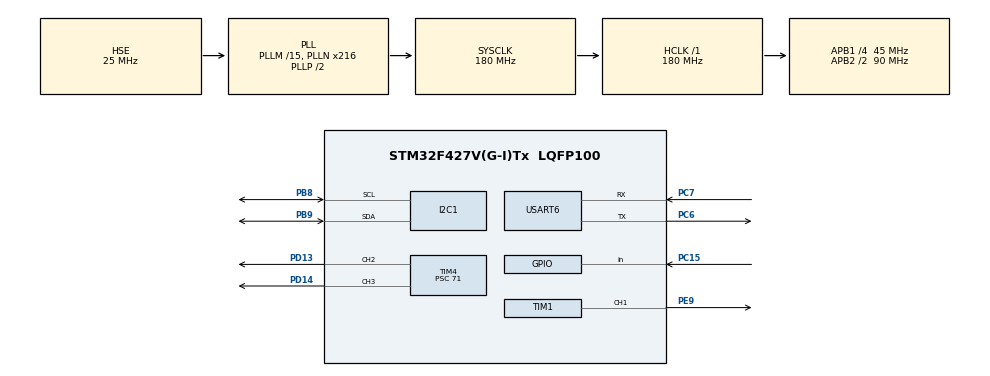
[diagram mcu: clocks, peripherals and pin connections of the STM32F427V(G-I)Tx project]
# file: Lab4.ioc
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I2C1.I2C_Mode=I2C_Fast
Mcu.Family=STM32F4
Mcu.Name=STM32F427V(G-I)Tx
Mcu.Package=LQFP100
NVIC.PriorityGroup=NVIC_PRIORITYGROUP_4
NVIC.TIM6_DAC_IRQn=true\:0\:0\:false\:false\:true\:true\:true\:true
NVIC.USART6_IRQn=true\:0\:0\:false\:false\:true\:true\:true\:true
PA13.Mode=Serial_Wire
PA13.Signal=SYS_JTMS-SWDIO
PA14.Mode=Serial_Wire
PA14.Signal=SYS_JTCK-SWCLK
PB8.GPIO_Pu=GPIO_PULLUP
PB8.Mode=I2C
PB8.Signal=I2C1_SCL
PB9.GPIO_Pu=GPIO_PULLUP
PB9.Mode=I2C
PB9.Signal=I2C1_SDA
PC15/OSC32_OUT.Signal=GPIO_Input
PC6.Mode=Asynchronous
PC6.Signal=USART6_TX
PC7.Mode=Asynchronous
PC7.Signal=USART6_RX
PD13.Signal=S_TIM4_CH2
PD14.Signal=S_TIM4_CH3
PD15.Signal=S_TIM4_CH4
PE9.Signal=S_TIM1_CH1
PH0/OSC_IN.Mode=HSE-External-Oscillator
PH0/OSC_IN.Signal=RCC_OSC_IN
PH1/OSC_OUT.Mode=HSE-External-Oscillator
PH1/OSC_OUT.Signal=RCC_OSC_OUT
ProjectManager.HeapSize=0x200
ProjectManager.StackSize=0x400
ProjectManager.TargetToolchain=STM32CubeIDE
RCC.48MHZClocksFreq_Value=90000000
RCC.AHBFreq_Value=180000000
RCC.APB1CLKDivider=RCC_HCLK_DIV4
RCC.APB1Freq_Value=45000000
RCC.APB1TimFreq_Value=90000000
RCC.APB2CLKDivider=RCC_HCLK_DIV2
RCC.APB2Freq_Value=90000000
RCC.APB2TimFreq_Value=180000000
RCC.CortexFreq_Value=180000000
RCC.HCLKFreq_Value=180000000
RCC.HSE_VALUE=25000000
RCC.HSI_VALUE=16000000
RCC.LSE_VALUE=32768
RCC.PLLM=15
RCC.PLLN=216
RCC.PLLSourceVirtual=RCC_PLLSOURCE_HSE
RCC.SYSCLKFreq_VALUE=180000000
RCC.SYSCLKSource=RCC_SYSCLKSOURCE_PLLCLK
RCC.VCOOutputFreq_Value=360000000
SH.S_TIM1_CH1.0=TIM1_CH1,PWM Generation1 CH1
SH.S_TIM4_CH2.0=TIM4_CH2,PWM Generation2 CH2
SH.S_TIM4_CH3.0=TIM4_CH3,PWM Generation3 CH3
SH.S_TIM4_CH4.0=TIM4_CH4
TIM1.AutoReloadPreload=TIM_AUTORELOAD_PRELOAD_ENABLE
TIM1.Channel-PWM\ Generation1\ CH1=TIM_CHANNEL_1
TIM1.Period=1000
TIM1.Prescaler=89
TIM1.Pulse-PWM\ Generation1\ CH1=0
TIM4.AutoReloadPreload=TIM_AUTORELOAD_PRELOAD_ENABLE
TIM4.Channel-PWM\ Generation2\ CH2=TIM_CHANNEL_2
TIM4.Channel-PWM\ Generation3\ CH3=TIM_CHANNEL_3
TIM4.Channel-PWM\ Generation4\ No\ Output=TIM_CHANNEL_4
TIM4.Period=1999
TIM4.Prescaler=71
TIM6.AutoReloadPreload=TIM_AUTORELOAD_PRELOAD_ENABLE
TIM6.Period=999
TIM6.Prescaler=71
USART6.VirtualMode=VM_ASYNC
VP_TIM1_VS_ClockSourceINT.Mode=Internal
VP_TIM4_VS_ClockSourceINT.Mode=Internal
VP_TIM4_VS_no_output4.Mode=PWM Generation4 No Output
VP_TIM6_VS_ClockSourceINT.Mode=Enable_Timer
board=custom

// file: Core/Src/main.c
/* USER CODE BEGIN Header */
/**
  ******************************************************************************
  * @file           : main.c
  * @brief          : Main program body - Rhythm Game with I2C Keyboard
  ******************************************************************************
  */
/* USER CODE END Header */

#include "main.h"
#include "i2c.h"
#include "tim.h"
#include "usart.h"
#include "gpio.h"

/* USER CODE BEGIN Includes */
#include <string.h>
#include <stdio.h>
#include <stdbool.h>
/* USER CODE END Includes */

/* USER CODE BEGIN PD */
#define NUM_PULSES 9
#define SEQUENCE_LENGTH 27

// I2C Keyboard defines
#define PCA9538_ADDR 0xE2
#define PCA9538_INPUT_REG 0x00
#define PCA9538_OUTPUT_REG 0x01
#define PCA9538_CONFIG_REG 0x03

#define KEYBOARD_ROWS 4
#define KEYBOARD_COLS 3
#define DEBOUNCE_TIME 50

const uint16_t FREQUENCIES[NUM_PULSES] = {
    262, 294, 330, 349, 392, 440, 494, 523, 587
};

typedef struct {
    uint8_t green;
    uint8_t yellow;
    uint8_t red;
    uint16_t freq;
    char symbol;
} Pulse_t;

const Pulse_t PULSES[NUM_PULSES] = {
    {20,  0,   0,  262, '1'},
    {50,  0,   0,  294, '2'},
    {100, 0,   0,  330, '3'},
    {0,   20,  0,  349, '4'},
    {0,   50,  0,  392, '5'},
    {0,   100, 0,  440, '6'},
    {0,   0,   20, 494, '7'},
    {0,   0,   50, 523, '8'},
    {0,   0,   100, 587, '9'}
};

typedef enum {
    SPEED_SLOW = 0,
    SPEED_MEDIUM = 1,
    SPEED_FAST = 2
} Speed_t;

const uint16_t SPEED_DURATIONS[3] = {1000, 600, 300};

typedef enum {
    MODE_BOTH = 0,
    MODE_LED_ONLY = 1,
    MODE_SOUND_ONLY = 2
} PlayMode_t;

typedef enum {
    GAME_IDLE = 0,
    GAME_COUNTDOWN = 1,
    GAME_PLAYING = 2,
    GAME_FINISHED = 3
} GameState_t;

/* USER CODE END PD */

/* USER CODE BEGIN PV */
extern TIM_HandleTypeDef htim1;
extern TIM_HandleTypeDef htim4;
extern TIM_HandleTypeDef htim6;
extern UART_HandleTypeDef huart6;
extern I2C_HandleTypeDef hi2c1;

static Speed_t current_speed = SPEED_SLOW;
static PlayMode_t play_mode = MODE_BOTH;
static GameState_t game_state = GAME_IDLE;

static uint8_t sequence[SEQUENCE_LENGTH];
static uint8_t sequence_pos = 0;
static uint32_t score = 0;
static uint8_t mistakes = 0;
static uint8_t input_received = 0;
static char trace[SEQUENCE_LENGTH];

static uint32_t countdown_start = 0;

static uint8_t keyboard_state[KEYBOARD_ROWS][KEYBOARD_COLS];
static uint32_t keyboard_debounce[KEYBOARD_ROWS][KEYBOARD_COLS];
static uint8_t keyboard_pressed[KEYBOARD_ROWS][KEYBOARD_COLS];

const char KEYBOARD_MAP[KEYBOARD_ROWS][KEYBOARD_COLS] = {
    {'1', '2', '3'},
    {'4', '5', '6'},
    {'7', '8', '9'},
    {'+', '0', 'a'}
};

/* USER CODE END PV */

void SystemClock_Config(void);
/* USER CODE BEGIN PFP */
static void SetPWM(uint8_t green, uint8_t yellow, uint8_t red);
static void SetBuzzer(uint16_t freq);
static void StopBuzzer(void);
static void PlayPulse(uint8_t pulse_idx);
static void StopPulse(void);
static void GenerateSequence(void);
static void StartGame(void);
static void StopGame(void);
static void ProcessInput(char c);
static void PrintGameStats(void);
static void UART_SendString(const char* str);

// Keyboard functions
static HAL_StatusTypeDef PCA9538_WriteReg(uint8_t reg, uint8_t data);
static HAL_StatusTypeDef PCA9538_ReadReg(uint8_t reg, uint8_t *data);
static void Keyboard_Init(void);
static void Keyboard_Scan(void);
static char Keyboard_GetKey(void);
/* USER CODE END PFP */

/* USER CODE BEGIN 0 */

static HAL_StatusTypeDef PCA9538_WriteReg(uint8_t reg, uint8_t data) {
    return HAL_I2C_Mem_Write(&hi2c1, PCA9538_ADDR, reg, 1, &data, 1, 100);
}

static HAL_StatusTypeDef PCA9538_ReadReg(uint8_t reg, uint8_t *data) {
    return HAL_I2C_Mem_Read(&hi2c1, PCA9538_ADDR, reg, 1, data, 1, 100);
}

static void Keyboard_Init(void) {
    PCA9538_WriteReg(PCA9538_CONFIG_REG, 0xF0);

    PCA9538_WriteReg(PCA9538_OUTPUT_REG, 0x0F);

    memset(keyboard_state, 0, sizeof(keyboard_state));
    memset(keyboard_debounce, 0, sizeof(keyboard_debounce));
    memset(keyboard_pressed, 0, sizeof(keyboard_pressed));

    UART_SendString("Keyboard initialized\r\n");
}

static void Keyboard_Scan(void) {
    uint32_t now = HAL_GetTick();

    for (uint8_t row = 0; row < KEYBOARD_ROWS; row++) {
        uint8_t output = 0x0F & ~(1 << row);
        PCA9538_WriteReg(PCA9538_OUTPUT_REG, output);

        HAL_Delay(1);

        uint8_t input = 0;
        if (PCA9538_ReadReg(PCA9538_INPUT_REG, &input) == HAL_OK) {
            for (uint8_t col = 0; col < KEYBOARD_COLS; col++) {
                uint8_t bit = 4 + col;
                uint8_t pressed = !(input & (1 << bit));

                if (pressed != keyboard_state[row][col]) {
                    keyboard_state[row][col] = pressed;
                    keyboard_debounce[row][col] = now;
                } else {
                    if (now - keyboard_debounce[row][col] >= DEBOUNCE_TIME) {
                        if (pressed && !keyboard_pressed[row][col]) {
                            keyboard_pressed[row][col] = 1;
                        } else if (!pressed && keyboard_pressed[row][col]) {
                            keyboard_pressed[row][col] = 0;
                        }
                    }
                }
            }
        }
    }

    PCA9538_WriteReg(PCA9538_OUTPUT_REG, 0x0F);
}

static char Keyboard_GetKey(void) {
    uint8_t pressed_count = 0;
    uint8_t last_row = 0, last_col = 0;

    for (uint8_t row = 0; row < KEYBOARD_ROWS; row++) {
        for (uint8_t col = 0; col < KEYBOARD_COLS; col++) {
            if (keyboard_pressed[row][col]) {
                pressed_count++;
                last_row = row;
                last_col = col;
            }
        }
    }

    if (pressed_count != 1) {
        return 0;
    }

    static uint8_t key_handled[KEYBOARD_ROWS][KEYBOARD_COLS] = {0};

    if (key_handled[last_row][last_col]) {
        return 0;
    }

    key_handled[last_row][last_col] = 1;

    for (uint8_t row = 0; row < KEYBOARD_ROWS; row++) {
        for (uint8_t col = 0; col < KEYBOARD_COLS; col++) {
            if (!keyboard_pressed[row][col]) {
                key_handled[row][col] = 0;
            }
        }
    }

    return KEYBOARD_MAP[last_row][last_col];
}

static void SetPWM(uint8_t green, uint8_t yellow, uint8_t red) {
    if (play_mode == MODE_SOUND_ONLY) {
        __HAL_TIM_SET_COMPARE(&htim4, TIM_CHANNEL_2, 0);
        __HAL_TIM_SET_COMPARE(&htim4, TIM_CHANNEL_3, 0);
        __HAL_TIM_SET_COMPARE(&htim4, TIM_CHANNEL_4, 0);
        return;
    }

    __HAL_TIM_SET_COMPARE(&htim4, TIM_CHANNEL_2, (green * 2000) / 100);
    __HAL_TIM_SET_COMPARE(&htim4, TIM_CHANNEL_3, (yellow * 2000) / 100);
    __HAL_TIM_SET_COMPARE(&htim4, TIM_CHANNEL_4, (red * 2000) / 100);
}

static void SetBuzzer(uint16_t freq) {
    if (play_mode == MODE_LED_ONLY || freq == 0) {
        HAL_TIM_PWM_Stop(&htim1, TIM_CHANNEL_1);
        return;
    }

    uint32_t timer_clock = 144000000;
    uint16_t prescaler = (timer_clock / 1000000) - 1;
    uint32_t arr = (1000000 / freq) - 1;

    if (arr > 65535) arr = 65535;
    if (arr < 10) arr = 10;

    HAL_TIM_PWM_Stop(&htim1, TIM_CHANNEL_1);

    htim1.Instance->PSC = prescaler;
    htim1.Instance->ARR = arr;
    htim1.Instance->CCR1 = arr / 2;
    htim1.Instance->CNT = 0;
    htim1.Instance->EGR = TIM_EGR_UG;

    HAL_TIM_PWM_Start(&htim1, TIM_CHANNEL_1);
}

static void StopBuzzer(void) {
    HAL_TIM_PWM_Stop(&htim1, TIM_CHANNEL_1);
}

static void PlayPulse(uint8_t pulse_idx) {
    const Pulse_t* p = &PULSES[pulse_idx];
    SetPWM(p->green, p->yellow, p->red);
    SetBuzzer(p->freq);
}

static void StopPulse(void) {
    SetPWM(0, 0, 0);
    StopBuzzer();
}

static void GenerateSequence(void) {
    for (int i = 0; i < SEQUENCE_LENGTH; i++) {
        sequence[i] = i % NUM_PULSES;
    }
}

static void StartGame(void) {
    game_state = GAME_COUNTDOWN;
    countdown_start = HAL_GetTick();
    score = 0;
    mistakes = 0;
    sequence_pos = 0;
    memset(trace, 0, sizeof(trace));
    GenerateSequence();

    UART_SendString("\r\n=== GAME STARTING IN 3 SECONDS ===\r\n");
}

static void StopGame(void) {
    StopPulse();
    HAL_TIM_Base_Stop_IT(&htim6);
    game_state = GAME_FINISHED;
    PrintGameStats();
}

static void PrintGameStats(void) {
    char buf[256];
    snprintf(buf, sizeof(buf),
             "\r\n=== GAME FINISHED ===\r\n"
             "Score: %lu\r\n"
             "Correct: %d / %d\r\n"
             "Trace: ",
             score, SEQUENCE_LENGTH - mistakes, SEQUENCE_LENGTH);
    UART_SendString(buf);

    for (int i = 0; i < SEQUENCE_LENGTH; i++) {
        if (trace[i] == '+') {
            UART_SendString("[OK]");
        } else if (trace[i] == '-') {
            UART_SendString("[MISS]");
        } else {
            UART_SendString("[TIMEOUT]");
        }
    }
    UART_SendString("\r\n");
    game_state = GAME_IDLE;
}

static void ProcessInput(char c) {
    if (c == 0) return;

    char buf[128];

    if (c == '0') {
        if (game_state == GAME_IDLE) {
            StartGame();
        } else if (game_state == GAME_COUNTDOWN || game_state == GAME_PLAYING) {
            UART_SendString("\r\n=== GAME STOPPED ===\r\n");
            StopGame();
        }
        return;
    }

    if (game_state == GAME_IDLE) {
        for (int i = 0; i < NUM_PULSES; i++) {
            if (c == PULSES[i].symbol) {
                snprintf(buf, sizeof(buf), "\r\nKey pressed: '%c'\r\n", c);
                UART_SendString(buf);

                PlayPulse(i);
                HAL_Delay(200);
                StopPulse();

                snprintf(buf, sizeof(buf),
                         "Pulse '%c': Color=%s, Brightness=%d%%, Frequency=%d Hz\r\n",
                         c,
                         PULSES[i].green ? "Green" : (PULSES[i].yellow ? "Yellow" : "Red"),
                         PULSES[i].green + PULSES[i].yellow + PULSES[i].red,
                         PULSES[i].freq);
                UART_SendString(buf);
                return;
            }
        }

        if (c == '+') {
            current_speed = (current_speed + 1) % 3;
            const char* speed_names[] = {"SLOW", "MEDIUM", "FAST"};
            snprintf(buf, sizeof(buf), "Speed: %s (%d ms)\r\n",
                     speed_names[current_speed],
                     SPEED_DURATIONS[current_speed]);
            UART_SendString(buf);
        }
        else if (c == 'a' || c == 'A') {
            play_mode = (play_mode + 1) % 3;
            const char* mode_names[] = {"LED + SOUND", "LED ONLY", "SOUND ONLY"};
            snprintf(buf, sizeof(buf), "Play mode: %s\r\n", mode_names[play_mode]);
            UART_SendString(buf);
        }
    }
    else if (game_state == GAME_PLAYING) {
        if (input_received) return;

        uint8_t expected = sequence[sequence_pos];
        if (c == PULSES[expected].symbol) {
            trace[sequence_pos] = '+';
            score += 10 * (current_speed + 1);
        } else {
            trace[sequence_pos] = '-';
            mistakes++;
        }
        input_received = 1;
    }
}

static void UART_SendString(const char* str) {
    HAL_UART_Transmit(&huart6, (uint8_t*)str, strlen(str), HAL_MAX_DELAY);
}

/* USER CODE END 0 */

int main(void)
{

  HAL_Init();
  SystemClock_Config();

  /* USER CODE BEGIN 2 */
  MX_GPIO_Init();
  MX_USART6_UART_Init();
  MX_I2C1_Init();
  MX_TIM6_Init();
  MX_TIM4_Init();
  MX_TIM1_Init();

  UART_SendString("\r\n\r\n=== RHYTHM GAME WITH I2C KEYBOARD ===\r\n");
  UART_SendString("Lab 4: I2C Interface\r\n\r\n");

  HAL_Delay(100);
  Keyboard_Init();

  HAL_TIM_PWM_Start(&htim4, TIM_CHANNEL_2);
  HAL_TIM_PWM_Start(&htim4, TIM_CHANNEL_3);
  HAL_TIM_PWM_Start(&htim4, TIM_CHANNEL_4);
  SetPWM(0, 0, 0);

  UART_SendString("Commands:\r\n");
  UART_SendString("  1-9 : Test pulses\r\n");
  UART_SendString("  *   : Change speed\r\n");
  UART_SendString("  #   : Change play mode\r\n");
  UART_SendString("  0   : Start/Stop game\r\n");
  UART_SendString("\r\nReady!\r\n");

  /* USER CODE END 2 */

  /* Infinite loop */
  /* USER CODE BEGIN WHILE */
  uint32_t last_scan = 0;

  while (1)
  {
    uint32_t now = HAL_GetTick();

    if (now - last_scan >= 10) {
        last_scan = now;
        Keyboard_Scan();

        char key = Keyboard_GetKey();
        if (key != 0) {
            ProcessInput(key);
        }
    }

    if (game_state == GAME_COUNTDOWN) {
        if (now - countdown_start >= 3000) {
            game_state = GAME_PLAYING;
            sequence_pos = 0;
            input_received = 0;
            PlayPulse(sequence[0]);

            __HAL_TIM_SET_COUNTER(&htim6, 0);
            __HAL_TIM_SET_AUTORELOAD(&htim6, SPEED_DURATIONS[current_speed] - 1);
            HAL_TIM_Base_Start_IT(&htim6);

            UART_SendString("=== GO! ===\r\n");
        }
    }

    /* USER CODE END WHILE */
  }
}

void HAL_TIM_PeriodElapsedCallback(TIM_HandleTypeDef *htim) {
    if (htim->Instance == TIM6 && game_state == GAME_PLAYING) {
        StopPulse();

        if (!input_received) {
            trace[sequence_pos] = '0';
            mistakes++;
        }

        sequence_pos++;

        if (sequence_pos >= SEQUENCE_LENGTH) {
            StopGame();
        } else {
            input_received = 0;
            PlayPulse(sequence[sequence_pos]);
        }
    }
}

void SystemClock_Config(void)
{
  RCC_OscInitTypeDef RCC_OscInitStruct = {0};
  RCC_ClkInitTypeDef RCC_ClkInitStruct = {0};

  __HAL_RCC_PWR_CLK_ENABLE();
  __HAL_PWR_VOLTAGESCALING_CONFIG(PWR_REGULATOR_VOLTAGE_SCALE1);

  RCC_OscInitStruct.OscillatorType = RCC_OSCILLATORTYPE_HSE;
  RCC_OscInitStruct.HSEState = RCC_HSE_ON;
  RCC_OscInitStruct.PLL.PLLState = RCC_PLL_ON;
  RCC_OscInitStruct.PLL.PLLSource = RCC_PLLSOURCE_HSE;
  RCC_OscInitStruct.PLL.PLLM = 15;
  RCC_OscInitStruct.PLL.PLLN = 216;
  RCC_OscInitStruct.PLL.PLLP = RCC_PLLP_DIV2;
  RCC_OscInitStruct.PLL.PLLQ = 4;
  if (HAL_RCC_OscConfig(&RCC_OscInitStruct) != HAL_OK)
  {
    Error_Handler();
  }

  if (HAL_PWREx_EnableOverDrive() != HAL_OK)
  {
    Error_Handler();
  }

  RCC_ClkInitStruct.ClockType = RCC_CLOCKTYPE_HCLK|RCC_CLOCKTYPE_SYSCLK
                              |RCC_CLOCKTYPE_PCLK1|RCC_CLOCKTYPE_PCLK2;
  RCC_ClkInitStruct.SYSCLKSource = RCC_SYSCLKSOURCE_PLLCLK;
  RCC_ClkInitStruct.AHBCLKDivider = RCC_SYSCLK_DIV1;
  RCC_ClkInitStruct.APB1CLKDivider = RCC_HCLK_DIV4;
  RCC_ClkInitStruct.APB2CLKDivider = RCC_HCLK_DIV2;

  if (HAL_RCC_ClockConfig(&RCC_ClkInitStruct, FLASH_LATENCY_5) != HAL_OK)
  {
    Error_Handler();
  }
}

void Error_Handler(void)
{
  __disable_irq();
  while (1)
  {
  }
}
